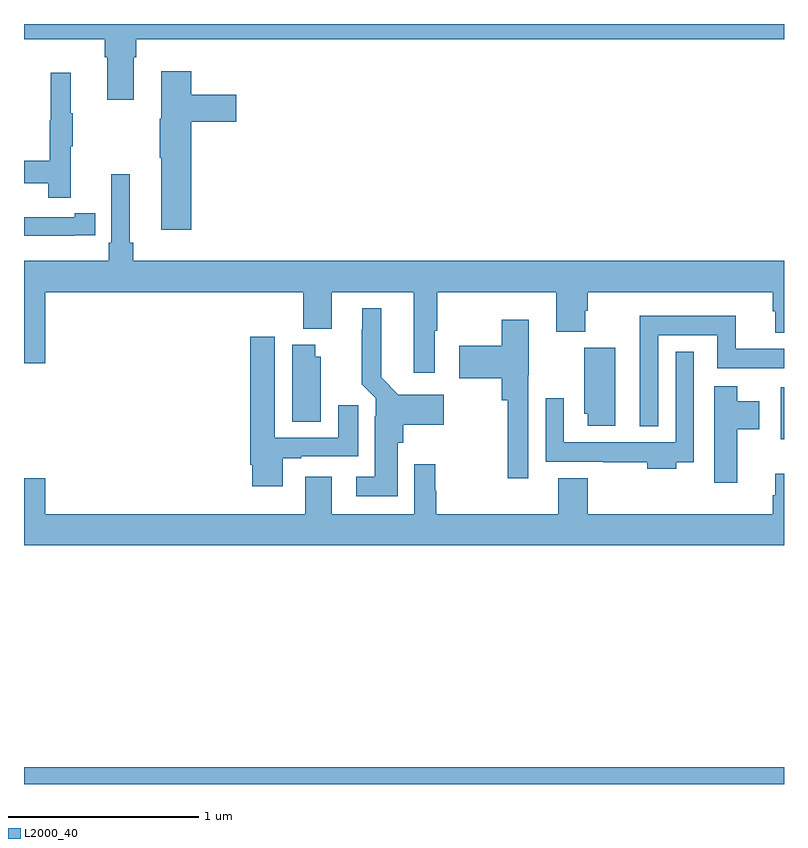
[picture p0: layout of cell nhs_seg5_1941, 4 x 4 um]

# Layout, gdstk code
import gdstk
lib = gdstk.Library(unit=1e-6, precision=1e-09)
def R(c, l, rs):  # rectangles x0, y0, x1, y1
    for r in rs: c.add(gdstk.rectangle(r[:2], r[2:], *l))
def P(c, l, *ps):  # polygons
    for p in ps: c.add(gdstk.Polygon(p, *l))
L2000_40 = (2000, 40)

nhs_seg5_1941 = lib.new_cell('nhs_seg5_1941')
R(nhs_seg5_1941, L2000_40, [(225,892.799,229,892.888), (228.983,894.614,229,894.886)])
P(nhs_seg5_1941, L2000_40, [(225,896.72),(225.425,896.72),(225.425,896.624),(225.437,896.624),(225.437,896.4),(225.577,896.4),(225.577,896.624),(225.59,896.624),(225.59,896.72),(229,896.72),(229,896.799),(225,896.799)],
  [(225.881,896.285),(226.117,896.285),(226.117,896.427),(225.881,896.427),(225.881,896.551),(225.722,896.551),(225.722,896.301),(225.715,896.301),(225.715,896.095),(225.722,896.095),(225.722,895.716),(225.881,895.716)],
  [(225.245,896.155),(225.256,896.155),(225.256,896.329),(225.245,896.329),(225.245,896.542),(225.142,896.542),(225.142,896.292),(225.135,896.292),(225.135,896.078),(225,896.078),(225,895.962),(225.127,895.962),(225.127,895.884),(225.245,895.884)],
  [(227.161,895.184),(227.174,895.184),(227.174,895.388),(227.801,895.388),(227.801,895.18),(227.953,895.18),(227.953,895.289),(227.966,895.289),(227.966,895.388),(228.941,895.388),(228.941,895.287),(228.953,895.287),(228.953,895.175),(229,895.175),(229,895.552),(225.575,895.552),(225.575,895.648),(225.556,895.648),(225.556,896.008),(225.459,896.008),(225.459,895.648),(225.446,895.648),(225.446,895.552),(225,895.552),(225,895.014),(225.112,895.014),(225.112,895.388),(226.469,895.388),(226.469,895.196),(226.621,895.196),(226.621,895.388),(227.051,895.388),(227.051,894.963),(227.161,894.963)],
  [(225.266,895.686),(225.374,895.686),(225.374,895.802),(225.266,895.802),(225.266,895.782),(225,895.782),(225,895.685),(225.266,895.685)],
  [(226.966,894.594),(226.997,894.594),(226.997,894.689),(227.209,894.689),(227.209,894.847),(226.971,894.847),(226.879,894.94),(226.879,895.303),(226.781,895.303),(226.781,895.193),(226.777,895.193),(226.777,894.902),(226.851,894.828),(226.851,894.734),(226.847,894.734),(226.847,894.415),(226.749,894.415),(226.749,894.314),(226.966,894.314)],
  [(228.339,895.16),(228.648,895.16),(228.648,894.986),(229,894.986),(229,895.09),(228.746,895.09),(228.746,895.264),(228.242,895.264),(228.242,894.683),(228.339,894.683)],
  [(227.655,894.951),(227.656,894.951),(227.656,895.243),(227.515,895.243),(227.515,895.105),(227.292,895.105),(227.292,894.935),(227.515,894.935),(227.515,894.818),(227.547,894.818),(227.547,894.408),(227.655,894.408)],
  [(226.363,894.513),(226.459,894.513),(226.459,894.525),(226.759,894.525),(226.759,894.793),(226.655,894.793),(226.655,894.621),(226.321,894.621),(226.321,895.153),(226.19,895.153),(226.19,894.478),(226.202,894.478),(226.202,894.366),(226.363,894.366)],
  [(226.561,895.047),(226.534,895.047),(226.534,895.111),(226.412,895.111),(226.412,894.706),(226.561,894.706)],
  [(228.112,895.095),(227.948,895.095),(227.948,894.747),(227.966,894.747),(227.966,894.684),(228.112,894.684)],
  [(228.433,894.492),(228.525,894.492),(228.525,895.075),(228.429,895.075),(228.429,894.598),(227.841,894.598),(227.841,894.829),(227.745,894.829),(227.745,894.494),(228.049,894.494),(228.049,894.492),(228.281,894.492),(228.281,894.458),(228.433,894.458)],
  [(228.754,894.667),(228.871,894.667),(228.871,894.814),(228.754,894.814),(228.754,894.892),(228.632,894.892),(228.632,894.384),(228.754,894.384)],
  [(229,894.433),(228.953,894.433),(228.953,894.318),(228.941,894.318),(228.941,894.22),(227.966,894.22),(227.966,894.409),(227.813,894.409),(227.813,894.22),(227.171,894.22),(227.171,894.342),(227.164,894.342),(227.164,894.481),(227.055,894.481),(227.055,894.22),(226.621,894.22),(226.621,894.415),(226.481,894.415),(226.481,894.22),(225.112,894.22),(225.112,894.409),(225,894.409),(225,894.056),(229,894.056)])

lib.write_gds('nhs_seg5_1941.gds')
